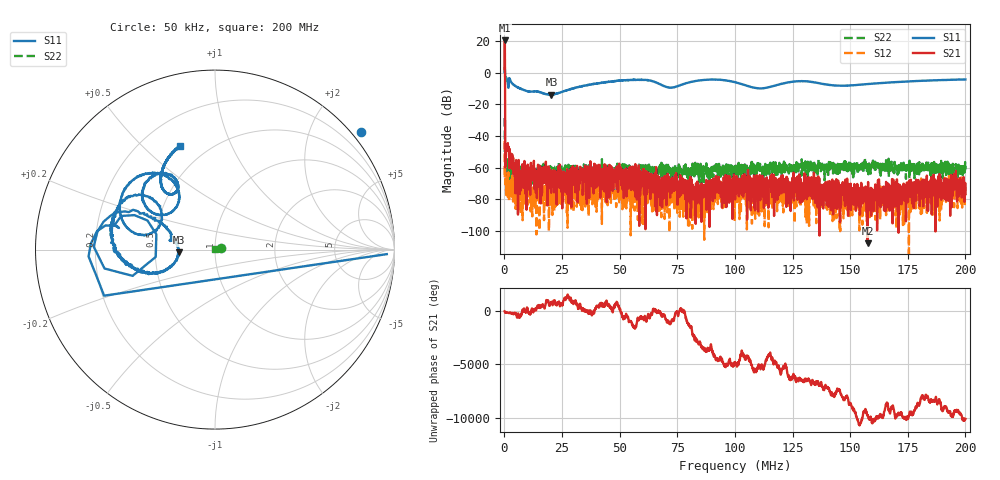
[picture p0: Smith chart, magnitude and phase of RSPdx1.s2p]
! 19-Feb-26 3:06:44 PM
! E:\VNA_MEASUREMENTS\RECBLOCK\RSPDX1.S2P
! CHANNEL.1
! TR.MEASUREMENT
! CORRECTED.DATA
# GHZ S RI R 50.0
! FREQ.GHZ  S11RE  S11IM  S21RE  S21IM  S12RE  S12IM  S22RE  S22IM
!; PortSelection: Port_12
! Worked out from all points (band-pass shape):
!   2000 points, 50 kHz to 200 MHz, reference 50 ohm
!   highest |S21| = 20.35 dB at 150 kHz (marker M1); lowest = -107.7 dB at 157.6 MHz (marker M2)
!   |S21| within 3 dB of the highest: 133.2 kHz to 161 kHz (27.84 kHz wide, 18.9 % of centre)
!   lowest |S11| = -13.9 dB at 20.36 MHz (marker M3), VSWR 1.51, Z = 33.2 - j1.12 ohm
!   |S11| at or under -10 dB: 6.617 MHz to 6.701 MHz (83.92 kHz wide, 1.26 % of centre); 6.786 MHz to 29.57 MHz (22.79 MHz wide, 125 % of centre); 29.7552 MHz to 29.76247 MHz (7.274 kHz wide, 0.0244 % of centre)
!   |S22| runs from -86.4 to -28.7 dB; largest |S21 - S12| = 10
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5e-05  0.8125 0.6536  1.259 -0.4552  -0.00693 0.000772  0.036 0.00749
0.000150025  -0.9911 -1.041  6.737 -7.93  -0.000186 0.000436  -0.003 -0.000234
0.001150275  -0.5348 0.1202  -0.00281 -0.00194  -0.000268 -0.000277  -7.02e-05 -0.000538
0.0012503  -0.5602 0.1359  -0.00462 -0.00169  0.000105 0.000131  0.000516 -0.00177
0.001350325  -0.5225 0.1875  -0.00427 -0.00301  6.22e-05 0.000103  0.00115 -0.000673
0.004851201  -0.3332 0.1692  -0.000432 0.000484  4.85e-05 1.05e-05  2e-05 0.000892
0.009852451  -0.2447 0.09  -0.000256 -0.000297  -9.09e-05 0.00022  0.000423 0.000779
0.0124531  -0.247 0.0524  -0.000423 -0.000525  -7.74e-05 5.16e-05  0.000305 5.81e-05
0.02035508  -0.2016 -0.0161  -0.000407 0.000219  -1.52e-05 -0.00014  0.000426 0.000399
0.03345835  -0.3476 -0.129  0.000567 -0.000712  -0.000199 -0.00013  3.01e-05 0.000742
0.05526381  -0.583 0.1134  9.84e-05 -0.000216  8.87e-05 0.000158  0.000684 0.000657
0.06676668  -0.3581 0.2847  0.000361 -0.000353  -2.83e-05 -9.05e-05  0.000397 0.000417
0.07726931  -0.4196 0.0825  0.00024 -3.67e-05  2.6e-05 -4.31e-05  0.000484 0.000665
0.08497124  -0.5314 0.2161  1.34e-05 -0.000284  4.85e-05 2.73e-05  -5.9e-06 0.000873
0.100075  -0.2792 0.4131  -1.24e-05 -9.77e-05  -0.000151 0.000242  0.000313 0.000438
0.1134784  -0.2664 0.1983  -8.91e-05 7.14e-05  1.32e-05 0.00013  0.00022 0.000696
0.1152788  -0.2977 0.1948  6.21e-05 0.000274  0.000116 -0.000198  0.000441 0.000984
0.1333833  -0.2784 0.4237  0.000173 -0.000196  -0.00015 -8.94e-05  0.000293 0.000944
0.1575894  -0.2852 0.3283  -1e-07 -4.1e-06  0.000111 2.63e-05  0.000414 0.000919
0.1666917  -0.3014 0.383  0.000221 0.000202  -8.9e-06 8.44e-05  0.00086 0.00169
0.1950988  -0.2229 0.5549  -0.00019 -0.000319  -1.6e-05 5.38e-05  5.45e-05 0.000756
0.2  -0.1962 0.5765  0.000141 -4.24e-05  -5.49e-05 -0.000139  1.58e-05 0.000869
